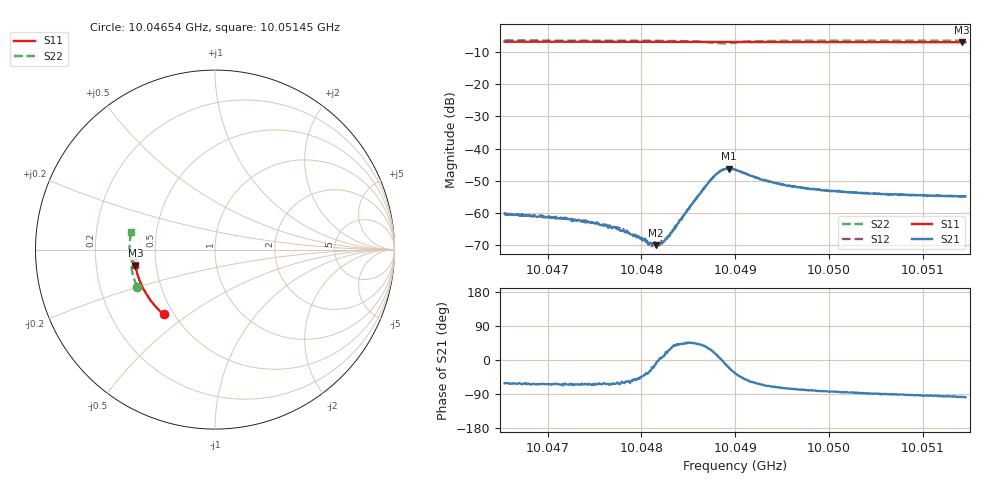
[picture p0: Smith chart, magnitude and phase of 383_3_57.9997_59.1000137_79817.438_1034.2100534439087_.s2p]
#  HZ  S  RI  R  50.00
! Rohde & Schwarz Vector Network Analyzer
! Rohde-Schwarz,ZNB20-2Port,1311601062101988,3.16
! Created: UTC 3/21/2024, 1:07:25 AM
! freq[Hz]  re:S11  im:S11  re:S21  im:S21  re:S12  im:S12  re:S22  im:S22
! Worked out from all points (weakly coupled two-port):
!   401 points, 10.04654 GHz to 10.05145 GHz, reference 50 ohm
!   highest |S21| = -46.23 dB at 10.04894 GHz (marker M1); lowest = -70.1 dB at 10.04815 GHz (marker M2)
!   lowest |S11| = -6.9 dB at 10.05142 GHz (marker M3), VSWR 2.65, Z = 19 - j4.3 ohm
!   |S11| at or under -10 dB: nowhere
!   |S22| runs from -7.2 to -6.4 dB; largest |S21 - S12| = 0.00032
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1.0046541e10  -0.2853 -0.3615  0.000464 -0.00086  0.000531 -0.000829  -0.4339 -0.2068
1.0046995e10  -0.3077 -0.3414  0.000376 -0.00077  0.00047 -0.000769  -0.4454 -0.1784
1.0047364e10  -0.3248 -0.324  0.000348 -0.000654  0.000374 -0.00066  -0.4535 -0.1546
1.004772e10  -0.3404 -0.3065  0.000267 -0.000525  0.000316 -0.000503  -0.46 -0.1305
1.0047941e10  -0.3496 -0.2951  0.000257 -0.000345  0.000305 -0.000326  -0.463 -0.1148
1.0048015e10  -0.3528 -0.2913  0.000277 -0.000258  0.000281 -0.000243  -0.4639 -0.1092
1.0048088e10  -0.3557 -0.2875  0.000301 -0.000164  0.000317 -0.000128  -0.4645 -0.1036
1.004815e10  -0.3581 -0.2843  0.000306 -6.16e-05  0.000332 -6.8e-05  -0.4652 -0.0989
1.0048187e10  -0.3596 -0.2824  0.000329 4.22e-06  0.000311 9.56e-06  -0.4653 -0.0959
1.0048236e10  -0.3613 -0.2798  0.000349 5.81e-05  0.000346 0.000124  -0.4657 -0.092
1.0048322e10  -0.3646 -0.2752  0.000418 0.000261  0.000431 0.000273  -0.4654 -0.0846
1.0048383e10  -0.3671 -0.2717  0.000495 0.000451  0.000504 0.000462  -0.4653 -0.0793
1.0048543e10  -0.3729 -0.2632  0.00099 0.000974  0.000936 0.00105  -0.4612 -0.0642
1.0048752e10  -0.3801 -0.2515  0.00311 0.00141  0.00304 0.00156  -0.4418 -0.0498
1.004885e10  -0.3833 -0.246  0.00455 0.00011  0.00456 0.000361  -0.4305 -0.058
1.0048936e10  -0.3861 -0.2415  0.00456 -0.00176  0.00469 -0.00147  -0.4335 -0.0702
1.0048997e10  -0.3883 -0.2381  0.00387 -0.00268  0.00404 -0.00245  -0.4417 -0.0741
1.0049366e10  -0.4001 -0.2168  0.00113 -0.00285  0.00128 -0.00282  -0.47 -0.048
1.004982e10  -0.4129 -0.1899  0.000401 -0.00232  0.000523 -0.00229  -0.4759 -0.0121
1.0050643e10  -0.4312 -0.139  -6.71e-06 -0.00196  0.000115 -0.00194  -0.4744 0.0455
1.0051417e10  -0.443 -0.0898  -0.000231 -0.00179  -0.000117 -0.00181  -0.4663 0.0968
1.0051454e10  -0.4435 -0.0875  -0.000259 -0.00179  -0.000133 -0.00182  -0.4659 0.0992
